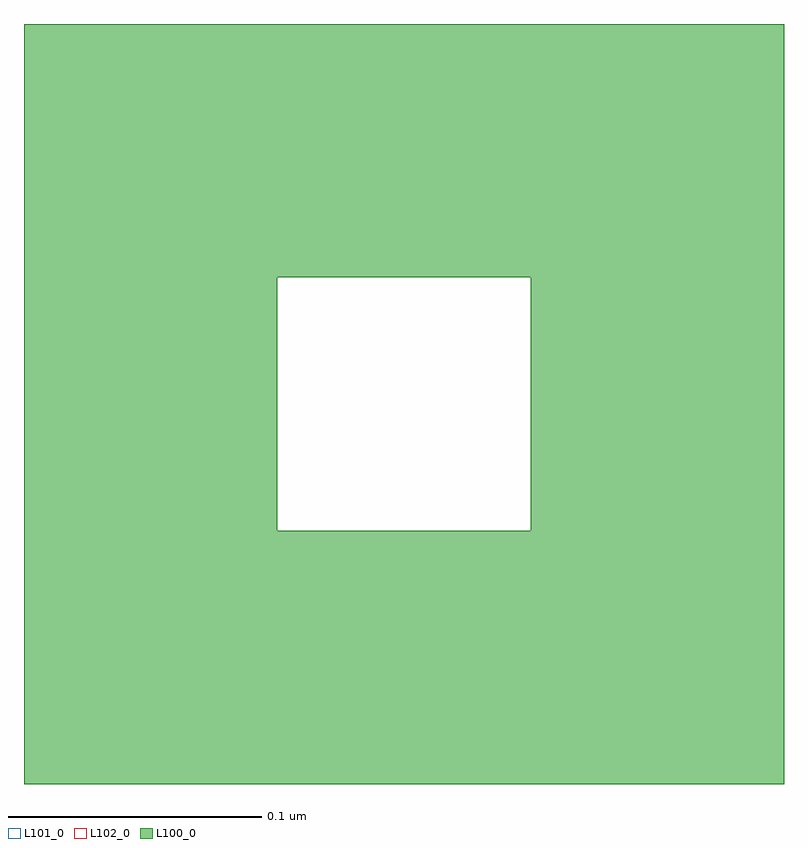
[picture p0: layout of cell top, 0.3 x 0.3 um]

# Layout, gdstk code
import gdstk
lib = gdstk.Library(unit=1e-6, precision=1e-09)
def R(c, l, rs):  # rectangles x0, y0, x1, y1
    for r in rs: c.add(gdstk.rectangle(r[:2], r[2:], *l))
L100_0 = (100, 0)
L101_0 = (101, 0)
L102_0 = (102, 0)

top = lib.new_cell('top')
R(top, L100_0, [(0,0,0.3,0.1), (0,0.1,0.1,0.2), (0.2,0.1,0.3,0.2), (0,0.2,0.3,0.3)])
R(top, L101_0, [(0,0,0.3,0.3)])
R(top, L102_0, [(0,0,0.3,0.3)])

lib.write_gds('top.gds')
